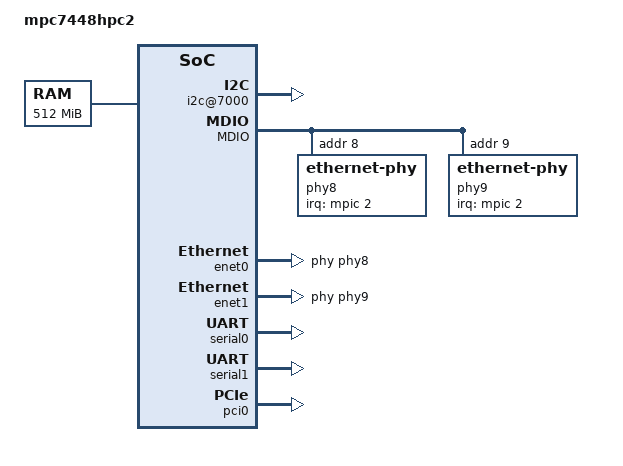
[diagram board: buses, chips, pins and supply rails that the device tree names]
// SPDX-License-Identifier: GPL-2.0-or-later
/*
 * MPC7448HPC2 (Taiga) board Device Tree Source
 *
 * Copyright 2006, 2008 Freescale Semiconductor Inc.
 * 2006 Roy Zang <Roy Zang at freescale.com>.
 */

/dts-v1/;

/ {
	model = "mpc7448hpc2";
	compatible = "mpc74xx";
	#address-cells = <1>;
	#size-cells = <1>;

	aliases {
		ethernet0 = &enet0;
		ethernet1 = &enet1;

		serial0 = &serial0;
		serial1 = &serial1;

		pci0 = &pci0;
	};

	cpus {
		#address-cells = <1>;
		#size-cells =<0>;
				
		PowerPC,7448@0 {
			device_type = "cpu";
			reg = <0x0>;
			d-cache-line-size = <32>;	// 32 bytes
			i-cache-line-size = <32>;	// 32 bytes
			d-cache-size = <0x8000>;		// L1, 32K bytes
			i-cache-size = <0x8000>;		// L1, 32K bytes
			timebase-frequency = <0>;	// 33 MHz, from uboot
			clock-frequency = <0>;		// From U-Boot
			bus-frequency = <0>;		// From U-Boot
		};
	};

	memory {
		device_type = "memory";
		reg = <0x0 0x20000000	// DDR2   512M at 0
		       >;
	};

  	tsi108@c0000000 {
		#address-cells = <1>;
		#size-cells = <1>;
		device_type = "tsi-bridge";
		ranges = <0x0 0xc0000000 0x10000>;
		reg = <0xc0000000 0x10000>;
		bus-frequency = <0>;

		i2c@7000 {
			interrupt-parent = <&mpic>;
			interrupts = <14 0>;
			reg = <0x7000 0x400>;
			device_type = "i2c";
			compatible  = "tsi108-i2c";
		};

		MDIO: mdio@6000 {
			compatible = "tsi108-mdio";
			reg = <0x6000 0x50>;
			#address-cells = <1>;
			#size-cells = <0>;

			phy8: ethernet-phy@8 {
				interrupt-parent = <&mpic>;
				interrupts = <2 1>;
				reg = <0x8>;
			};

			phy9: ethernet-phy@9 {
				interrupt-parent = <&mpic>;
				interrupts = <2 1>;
				reg = <0x9>;
			};

		};

		enet0: ethernet@6200 {
			linux,network-index = <0>;
			#size-cells = <0>;
			device_type = "network";
			compatible = "tsi108-ethernet";
			reg = <0x6000 0x200>;
			address = [ 00 06 D2 00 00 01 ];
			interrupts = <16 2>;
			interrupt-parent = <&mpic>;
			mdio-handle = <&MDIO>;
			phy-handle = <&phy8>;
		};

		enet1: ethernet@6600 {
			linux,network-index = <1>;
			#address-cells = <1>;
			#size-cells = <0>;
			device_type = "network";
			compatible = "tsi108-ethernet";
			reg = <0x6400 0x200>;
			address = [ 00 06 D2 00 00 02 ];
			interrupts = <17 2>;
			interrupt-parent = <&mpic>;
			mdio-handle = <&MDIO>;
			phy-handle = <&phy9>;
		};

		serial0: serial@7808 {
			device_type = "serial";
			compatible = "ns16550";
			reg = <0x7808 0x200>;
			clock-frequency = <1064000000>;
			interrupts = <12 0>;
			interrupt-parent = <&mpic>;
		};

		serial1: serial@7c08 {
			device_type = "serial";
			compatible = "ns16550";
			reg = <0x7c08 0x200>;
			clock-frequency = <1064000000>;
			interrupts = <13 0>;
			interrupt-parent = <&mpic>;
		};

	  	mpic: pic@7400 {
			interrupt-controller;
			#address-cells = <0>;
			#interrupt-cells = <2>;
			reg = <0x7400 0x400>;
			compatible = "chrp,open-pic";
			device_type = "open-pic";
		};
		pci0: pci@1000 {
			compatible = "tsi108-pci";
			device_type = "pci";
			#interrupt-cells = <1>;
			#size-cells = <2>;
			#address-cells = <3>;
			reg = <0x1000 0x1000>;
			bus-range = <0 0>;
			ranges = <0x2000000 0x0 0xe0000000 0xe0000000 0x0 0x1a000000	
				  0x1000000 0x0 0x0 0xfa000000 0x0 0x10000>;
			clock-frequency = <133333332>;
			interrupt-parent = <&mpic>;
			interrupts = <23 2>;
			interrupt-map-mask = <0xf800 0x0 0x0 0x7>;
			interrupt-map = <

				/* IDSEL 0x11 */
				0x800 0x0 0x0 0x1 &RT0 0x24 0x0
				0x800 0x0 0x0 0x2 &RT0 0x25 0x0
				0x800 0x0 0x0 0x3 &RT0 0x26 0x0
				0x800 0x0 0x0 0x4 &RT0 0x27 0x0

				/* IDSEL 0x12 */
				0x1000 0x0 0x0 0x1 &RT0 0x25 0x0
				0x1000 0x0 0x0 0x2 &RT0 0x26 0x0
				0x1000 0x0 0x0 0x3 &RT0 0x27 0x0
				0x1000 0x0 0x0 0x4 &RT0 0x24 0x0

				/* IDSEL 0x13 */
				0x1800 0x0 0x0 0x1 &RT0 0x26 0x0
				0x1800 0x0 0x0 0x2 &RT0 0x27 0x0
				0x1800 0x0 0x0 0x3 &RT0 0x24 0x0
				0x1800 0x0 0x0 0x4 &RT0 0x25 0x0

				/* IDSEL 0x14 */
				0x2000 0x0 0x0 0x1 &RT0 0x27 0x0
				0x2000 0x0 0x0 0x2 &RT0 0x24 0x0
				0x2000 0x0 0x0 0x3 &RT0 0x25 0x0
				0x2000 0x0 0x0 0x4 &RT0 0x26 0x0
				>;

			RT0: router@1180 {
				clock-frequency = <0>;
				interrupt-controller;
				device_type = "pic-router";
				#address-cells = <0>;
				#interrupt-cells = <2>;
				big-endian;
				interrupts = <23 2>;
				interrupt-parent = <&mpic>;
			};
		};
	};
};
